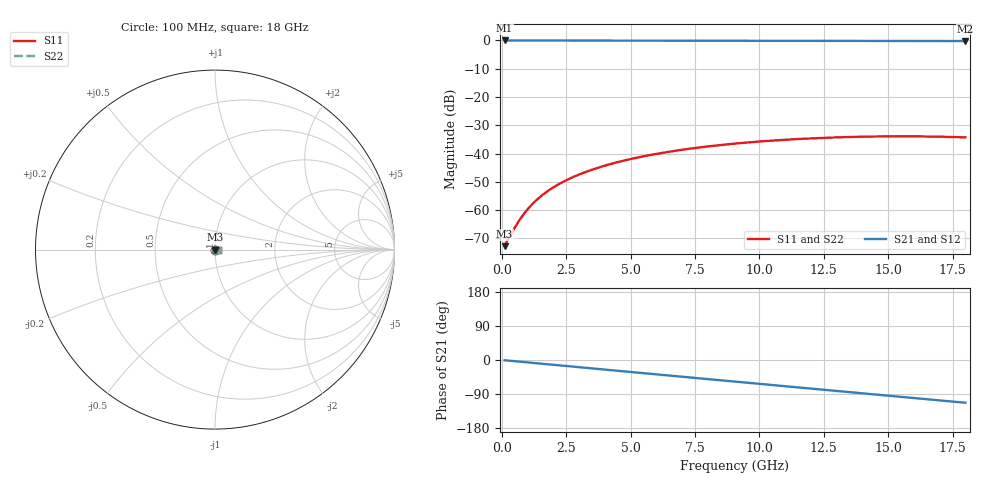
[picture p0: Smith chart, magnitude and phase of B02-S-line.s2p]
! yapnr rf coupon B: B02 S L2.5 (line, family S)
! stackup JLC06161H-7628, nominal parameters; reference planes 10 mm from each end; 50 ohm (renormalized from the line's Zc)
! model: 2D quasi-static RLGC (Djordjevic-Sarkar, Huray roughness, Wheeler loss); generated by python -m yapnr.rf.coupons expected
# GHz S DB R 50
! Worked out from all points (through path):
!   180 points, 100 MHz to 18 GHz, reference 50 ohm
!   highest |S21| = 0.00 dB at 100 MHz (marker M1); lowest = -0.2 dB at 18 GHz (marker M2)
!   group delay of S21, straight-line fit = 17.4 ps
!   lowest |S11| = -72.8 dB at 100 MHz (marker M3), VSWR 1.00, Z = 50 + j0.012 ohm
!   |S11| at or under -10 dB: start of sweep to end of sweep
!   |S22| runs from -72.8 to -33.9 dB; largest |S21 - S12| = 0
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0.1  -72.78 31.6  -0.00 -0.7  -0.00 -0.7  -72.78 31.6
0.2  -70.79 41.7  -0.01 -1.3  -0.01 -1.3  -70.79 41.7
0.5  -66.16 66.9  -0.01 -3.2  -0.01 -3.2  -66.16 66.9
0.7  -63.28 76.6  -0.01 -4.5  -0.01 -4.5  -63.28 76.6
1  -59.66 84.0  -0.02 -6.4  -0.02 -6.4  -59.66 84.0
1.3  -56.79 87.1  -0.02 -8.3  -0.02 -8.3  -56.79 87.1
1.7  -53.78 88.3  -0.03 -10.8  -0.03 -10.8  -53.78 88.3
2.1  -51.39 87.8  -0.03 -13.4  -0.03 -13.4  -51.39 87.8
2.6  -48.99 86.2  -0.04 -16.5  -0.04 -16.5  -48.99 86.2
3.1  -47.04 84.0  -0.04 -19.7  -0.04 -19.7  -47.04 84.0
3.6  -45.41 81.5  -0.05 -22.8  -0.05 -22.8  -45.41 81.5
4.4  -43.27 77.0  -0.06 -27.9  -0.06 -27.9  -43.27 77.0
5.2  -41.55 72.4  -0.07 -32.9  -0.07 -32.9  -41.55 72.4
6.1  -39.97 67.0  -0.08 -38.5  -0.08 -38.5  -39.97 67.0
7.7  -37.81 57.2  -0.10 -48.6  -0.10 -48.6  -37.81 57.2
9.1  -36.44 48.5  -0.12 -57.3  -0.12 -57.3  -36.44 48.5
10.6  -35.35 39.2  -0.13 -66.7  -0.13 -66.7  -35.35 39.2
12.1  -34.60 29.9  -0.15 -76.1  -0.15 -76.1  -34.60 29.9
13.6  -34.13 20.7  -0.17 -85.4  -0.17 -85.4  -34.13 20.7
15.1  -33.93 11.5  -0.18 -94.8  -0.18 -94.8  -33.93 11.5
16.5  -33.98 2.9  -0.20 -103.5  -0.20 -103.5  -33.98 2.9
18  -34.28 -6.2  -0.22 -112.8  -0.22 -112.8  -34.28 -6.2
